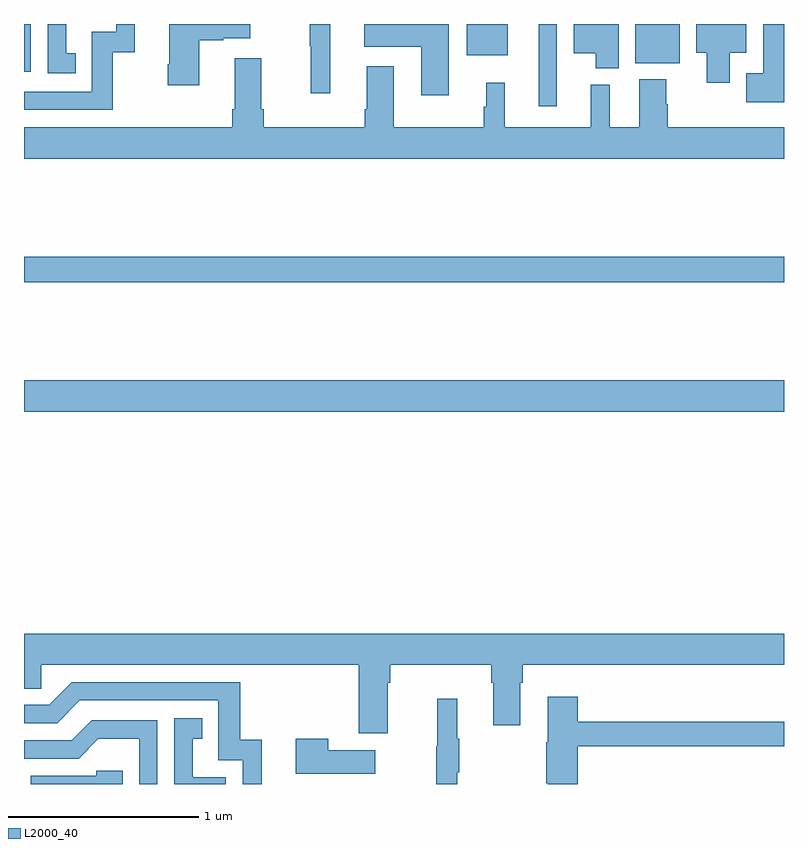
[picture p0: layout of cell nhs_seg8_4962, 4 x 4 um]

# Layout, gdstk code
import gdstk
lib = gdstk.Library(unit=1e-6, precision=1e-09)
def R(c, l, rs):  # rectangles x0, y0, x1, y1
    for r in rs: c.add(gdstk.rectangle(r[:2], r[2:], *l))
def P(c, l, *ps):  # polygons
    for p in ps: c.add(gdstk.Polygon(p, *l))
L2000_40 = (2000, 40)

nhs_seg8_4962 = lib.new_cell('nhs_seg8_4962')
R(nhs_seg8_4962, L2000_40, [(411,1089.86,415,1090.024), (411,1090.54,415,1090.676), (413.708,1091.466,413.805,1091.9), (411,1091.649,411.036,1091.9), (414.218,1091.693,414.451,1091.9), (413.33,1091.735,413.545,1091.9)])
P(nhs_seg8_4962, L2000_40, [(414.715,1091.75),(414.802,1091.75),(414.802,1091.9),(414.539,1091.9),(414.539,1091.75),(414.593,1091.75),(414.593,1091.592),(414.715,1091.592)],
  [(412.613,1091.747),(412.612,1091.747),(412.612,1091.9),(412.503,1091.9),(412.503,1091.784),(412.51,1091.784),(412.51,1091.535),(412.613,1091.535)],
  [(414.13,1091.9),(413.894,1091.9),(413.894,1091.747),(414.008,1091.747),(414.008,1091.666),(414.13,1091.666)],
  [(411.272,1091.745),(411.223,1091.745),(411.223,1091.9),(411.126,1091.9),(411.126,1091.64),(411.272,1091.64)],
  [(413.236,1091.9),(412.791,1091.9),(412.791,1091.78),(413.09,1091.78),(413.09,1091.526),(413.236,1091.526)],
  [(411.466,1091.751),(411.584,1091.751),(411.584,1091.9),(411.486,1091.9),(411.486,1091.859),(411.357,1091.859),(411.357,1091.544),(411,1091.544),(411,1091.448),(411.466,1091.448)],
  [(415,1091.9),(414.89,1091.9),(414.89,1091.641),(414.8,1091.641),(414.8,1091.489),(415,1091.489)],
  [(411.922,1091.815),(412.049,1091.815),(412.049,1091.825),(412.192,1091.825),(412.192,1091.9),(411.764,1091.9),(411.764,1091.689),(411.757,1091.689),(411.757,1091.577),(411.922,1091.577)],
  [(415,1091.356),(414.387,1091.356),(414.387,1091.477),(414.379,1091.477),(414.379,1091.608),(414.239,1091.608),(414.239,1091.356),(414.082,1091.356),(414.082,1091.581),(413.984,1091.581),(413.984,1091.356),(413.531,1091.356),(413.531,1091.59),(413.432,1091.59),(413.432,1091.465),(413.421,1091.465),(413.421,1091.356),(412.945,1091.356),(412.945,1091.677),(412.805,1091.677),(412.805,1091.452),(412.793,1091.452),(412.793,1091.356),(412.262,1091.356),(412.262,1091.452),(412.249,1091.452),(412.249,1091.719),(412.109,1091.719),(412.109,1091.452),(412.097,1091.452),(412.097,1091.356),(411,1091.356),(411,1091.192),(415,1091.192)],
  [(412.915,1088.432),(412.928,1088.432),(412.928,1088.528),(413.459,1088.528),(413.459,1088.432),(413.471,1088.432),(413.471,1088.208),(413.611,1088.208),(413.611,1088.432),(413.624,1088.432),(413.624,1088.528),(415,1088.528),(415,1088.692),(411,1088.692),(411,1088.401),(411.09,1088.401),(411.09,1088.528),(412.763,1088.528),(412.763,1088.166),(412.915,1088.166)],
  [(412.25,1088.134),(412.139,1088.134),(412.139,1088.436),(411.252,1088.436),(411.132,1088.316),(411,1088.316),(411,1088.22),(411.174,1088.22),(411.294,1088.34),(412.023,1088.34),(412.023,1088.025),(412.152,1088.025),(412.152,1087.9),(412.25,1087.9)],
  [(413.915,1088.098),(415,1088.098),(415,1088.227),(413.915,1088.227),(413.915,1088.359),(413.756,1088.359),(413.756,1088.121),(413.749,1088.121),(413.749,1087.903),(413.756,1087.903),(413.756,1087.9),(413.915,1087.9)],
  [(413.279,1087.963),(413.29,1087.963),(413.29,1088.137),(413.279,1088.137),(413.279,1088.35),(413.176,1088.35),(413.176,1088.1),(413.169,1088.1),(413.169,1087.9),(413.279,1087.9)],
  [(412.062,1087.935),(411.889,1087.935),(411.889,1088.139),(411.938,1088.139),(411.938,1088.245),(411.792,1088.245),(411.792,1087.9),(412.062,1087.9)],
  [(411.702,1088.235),(411.356,1088.235),(411.251,1088.13),(411,1088.13),(411,1088.034),(411.288,1088.034),(411.392,1088.138),(411.606,1088.138),(411.606,1087.9),(411.702,1087.9)],
  [(412.849,1088.077),(412.601,1088.077),(412.601,1088.137),(412.43,1088.137),(412.43,1087.955),(412.849,1087.955)],
  [(411.521,1087.971),(411.381,1087.971),(411.381,1087.944),(411.036,1087.944),(411.036,1087.9),(411.521,1087.9)])

lib.write_gds('nhs_seg8_4962.gds')
